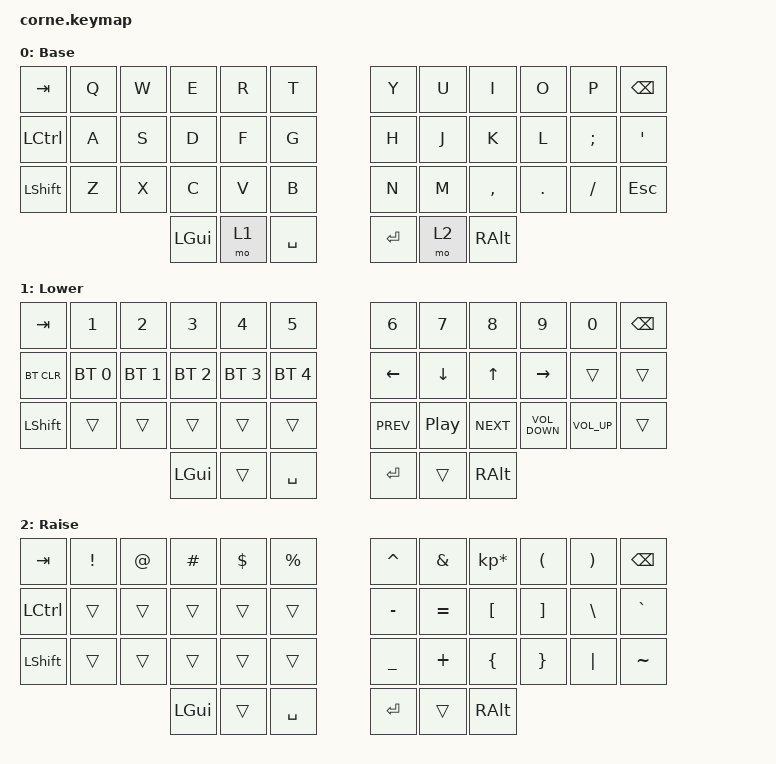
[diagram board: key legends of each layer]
/*
 * Copyright (c) 2020 The ZMK Contributors
 *
 * SPDX-License-Identifier: MIT
 */

#include <behaviors.dtsi>
#include <dt-bindings/zmk/bt.h>
#include <dt-bindings/zmk/keys.h>

/ {
    behaviors {
        hml: hml {
            compatible = "zmk,behavior-hold-tap";
            label = "HML";
            bindings = <&kp>, <&kp>;

            #binding-cells = <2>;
            tapping-term-ms = <150>;
            quick-tap-ms = <150>;
            flavor = "balanced";
            hold-trigger-on-release;
            hold-trigger-key-positions = <41 6 7 8 9 10 11 18 19 20 21 22 23 30 31 32 33 34 35 39 40 41 36 37 38>;
            require-prior-idle-ms = <150>;
        };

        hmr: hmr {
            compatible = "zmk,behavior-hold-tap";
            label = "HMR";
            bindings = <&kp>, <&kp>;

            #binding-cells = <2>;
            hold-trigger-key-positions = <0 1 2 3 4 5 12 13 14 15 16 17 24 25 26 27 28 29 36 37 38 39 40 41>;
            hold-trigger-on-release;
            tapping-term-ms = <150>;
            quick-tap-ms = <150>;
            flavor = "balanced";
            require-prior-idle-ms = <150>;
        };
    };

    keymap {
        compatible = "zmk,keymap";

        default_layer {
            // -----------------------------------------------------------------------------------------
            // |  TAB |  Q  |  W  |  E  |  R  |  T  |   |  Y  |  U   |  I  |  O  |  P  | BKSP |
            // | CTRL |  A  |  S  |  D  |  F  |  G  |   |  H  |  J   |  K  |  L  |  ;  |  '   |
            // | SHFT |  Z  |  X  |  C  |  V  |  B  |   |  N  |  M   |  ,  |  .  |  /  | ESC  |
            //                    | GUI | LWR | SPC |   | ENT | RSE  | ALT |

            display-name = "Base";
            bindings = <
&kp TAB    &kp Q  &kp W  &kp E     &kp R  &kp T        &kp Y    &kp U  &kp I      &kp O    &kp P          &kp BSPC
&kp LCTRL  &kp A  &kp S  &kp D     &kp F  &kp G        &kp H    &kp J  &kp K      &kp L    &kp SEMICOLON  &kp SQT
&kp LSHFT  &kp Z  &kp X  &kp C     &kp V  &kp B        &kp N    &kp M  &kp COMMA  &kp DOT  &kp FSLH       &kp ESC
                         &kp LGUI  &mo 1  &kp SPACE    &kp RET  &mo 2  &kp RALT
            >;
        };

        lower_layer {
            // -----------------------------------------------------------------------------------------
            // |  TAB |  1  |  2  |  3  |  4  |  5  |   |  6  |  7  |  8  |  9  |  0  | BKSP |
            // | BTCLR| BT1 | BT2 | BT3 | BT4 | BT5 |   | LFT | DWN |  UP | RGT |     |      |
            // | SHFT |     |     |     |     |     |   | prev    | play    |  next   |     |     |      |
            //                    | GUI |     | SPC |   | ENT |     | ALT |

            display-name = "Lower";
            bindings = <
&kp TAB     &kp N1        &kp N2        &kp N3        &kp N4        &kp N5          &kp N6      &kp N7            &kp N8      &kp N9             &kp N0           &kp BSPC
&bt BT_CLR  &bt BT_SEL 0  &bt BT_SEL 1  &bt BT_SEL 2  &bt BT_SEL 3  &bt BT_SEL 4    &kp LEFT    &kp DOWN          &kp UP      &kp RIGHT          &trans           &trans
&kp LSHFT   &trans        &trans        &trans        &trans        &trans          &kp C_PREV  &kp C_PLAY_PAUSE  &kp C_NEXT  &kp C_VOLUME_DOWN  &kp C_VOLUME_UP  &trans
                                        &kp LGUI      &trans        &kp SPACE       &kp RET     &trans            &kp RALT
            >;
        };

        raise_layer {
            // -----------------------------------------------------------------------------------------
            // |  TAB |  !  |  @  |  #  |  $  |  %  |   |  ^  |  &  |  *  |  (  |  )  | BKSP |
            // | CTRL |     |     |     |     |     |   |  -  |  =  |  [  |  ]  |  \  |  `   |
            // | SHFT |     |     |     |     |     |   |  _  |  +  |  {  |  }  | "|" |  ~   |
            //                    | GUI |     | SPC |   | ENT |     | ALT |

            display-name = "Raise";
            bindings = <
&kp TAB    &kp EXCL  &kp AT  &kp HASH  &kp DLLR  &kp PRCNT    &kp CARET  &kp AMPS   &kp KP_MULTIPLY  &kp LPAR  &kp RPAR  &kp BSPC
&kp LCTRL  &trans    &trans  &trans    &trans    &trans       &kp MINUS  &kp EQUAL  &kp LBKT         &kp RBKT  &kp BSLH  &kp GRAVE
&kp LSHFT  &trans    &trans  &trans    &trans    &trans       &kp UNDER  &kp PLUS   &kp LBRC         &kp RBRC  &kp PIPE  &kp TILDE
                             &kp LGUI  &trans    &kp SPACE    &kp RET    &trans     &kp RALT
            >;
        };
    };
};
